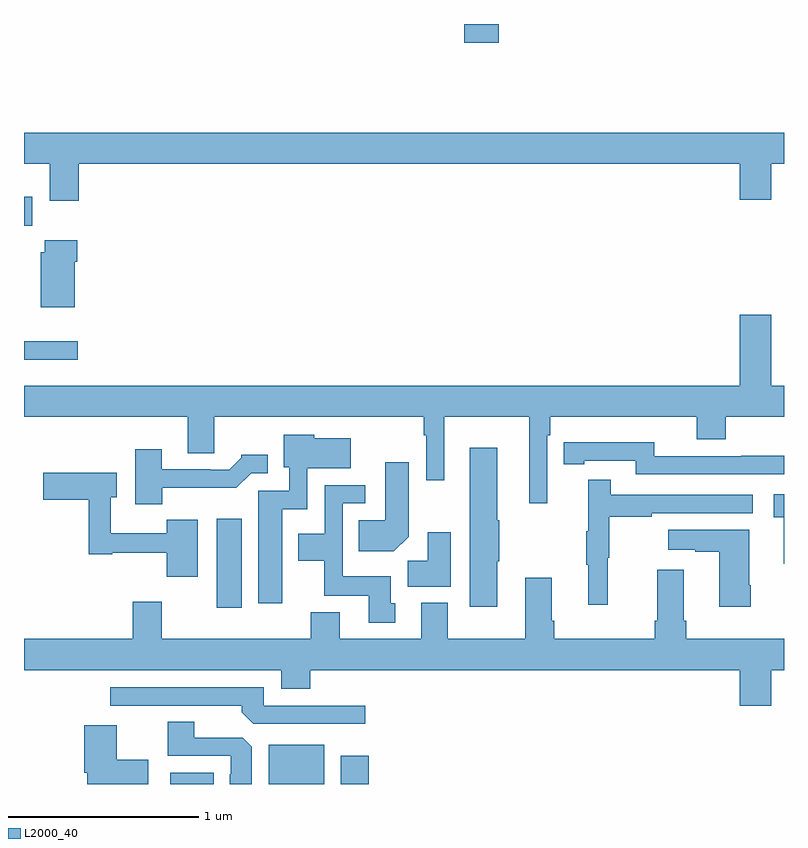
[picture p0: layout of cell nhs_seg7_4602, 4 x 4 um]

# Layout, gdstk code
import gdstk
lib = gdstk.Library(unit=1e-6, precision=1e-09)
def R(c, l, rs):  # rectangles x0, y0, x1, y1
    for r in rs: c.add(gdstk.rectangle(r[:2], r[2:], *l))
def P(c, l, *ps):  # polygons
    for p in ps: c.add(gdstk.Polygon(p, *l))
L2000_40 = (2000, 40)

nhs_seg7_4602 = lib.new_cell('nhs_seg7_4602')
R(nhs_seg7_4602, L2000_40, [(401.771,1016,401.998,1016.059), (402.287,1016,402.58,1016.206), (402.668,1016,402.815,1016.149), (402.014,1016.928,402.145,1017.397), (401,1018.232,401.284,1018.329), (401,1018.938,401.044,1019.092), (403.316,1019.901,403.499,1020)])
P(nhs_seg7_4602, L2000_40, [(401.288,1019.264),(404.768,1019.264),(404.768,1019.076),(404.932,1019.076),(404.932,1019.264),(405,1019.264),(405,1019.428),(401,1019.428),(401,1019.264),(401.135,1019.264),(401.135,1019.07),(401.288,1019.07)],
  [(401.266,1018.748),(401.279,1018.748),(401.279,1018.861),(401.108,1018.861),(401.108,1018.8),(401.087,1018.8),(401.087,1018.508),(401.266,1018.508)],
  [(403.755,1017.836),(403.769,1017.836),(403.769,1017.932),(404.54,1017.932),(404.54,1017.815),(404.693,1017.815),(404.693,1017.932),(405,1017.932),(405,1018.096),(404.932,1018.096),(404.932,1018.471),(404.768,1018.471),(404.768,1018.096),(401,1018.096),(401,1017.932),(401.861,1017.932),(401.861,1017.742),(402.001,1017.742),(402.001,1017.932),(403.104,1017.932),(403.104,1017.836),(403.116,1017.836),(403.116,1017.6),(403.213,1017.6),(403.213,1017.932),(403.658,1017.932),(403.658,1017.477),(403.755,1017.477)],
  [(402.358,1017.446),(402.492,1017.446),(402.492,1017.662),(402.721,1017.662),(402.721,1017.82),(402.528,1017.82),(402.528,1017.838),(402.368,1017.838),(402.368,1017.666),(402.396,1017.666),(402.396,1017.543),(402.233,1017.543),(402.233,1016.952),(402.358,1016.952)],
  [(405,1017.728),(404.776,1017.728),(404.776,1017.726),(404.316,1017.726),(404.316,1017.799),(403.948,1017.799),(403.948,1017.798),(403.84,1017.798),(403.84,1017.682),(403.948,1017.682),(403.948,1017.702),(404.22,1017.702),(404.22,1017.63),(405,1017.63)],
  [(403.492,1017.172),(403.5,1017.172),(403.5,1017.389),(403.492,1017.389),(403.492,1017.769),(403.346,1017.769),(403.346,1016.934),(403.492,1016.934)],
  [(401.728,1017.558),(402.117,1017.558),(402.195,1017.636),(402.283,1017.636),(402.283,1017.733),(402.144,1017.733),(402.144,1017.718),(402.08,1017.654),(401.981,1017.654),(401.981,1017.657),(401.725,1017.657),(401.725,1017.763),(401.585,1017.763),(401.585,1017.473),(401.728,1017.473)],
  [(403.024,1017.302),(403.024,1017.694),(402.902,1017.694),(402.902,1017.388),(402.763,1017.388),(402.763,1017.224),(402.946,1017.224)],
  [(401.914,1017.391),(401.752,1017.391),(401.752,1017.319),(401.457,1017.319),(401.457,1017.509),(401.488,1017.509),(401.488,1017.639),(401.1,1017.639),(401.1,1017.497),(401.341,1017.497),(401.341,1017.21),(401.464,1017.21),(401.464,1017.217),(401.75,1017.217),(401.75,1017.09),(401.914,1017.09)],
  [(404.072,1017.192),(404.08,1017.192),(404.08,1017.406),(404.303,1017.406),(404.303,1017.426),(404.836,1017.426),(404.836,1017.522),(404.087,1017.522),(404.087,1017.601),(403.97,1017.601),(403.97,1017.329),(403.959,1017.329),(403.959,1017.155),(403.97,1017.155),(403.97,1016.943),(404.072,1016.943)],
  [(402.955,1016.952),(402.931,1016.952),(402.931,1017.094),(402.678,1017.094),(402.678,1017.477),(402.796,1017.477),(402.796,1017.573),(402.582,1017.573),(402.582,1017.316),(402.443,1017.316),(402.443,1017.176),(402.58,1017.176),(402.58,1016.99),(402.815,1016.99),(402.815,1016.85),(402.955,1016.85)],
  [(405,1017.526),(404.946,1017.526),(404.946,1017.405),(404.999,1017.405),(404.999,1017.159),(405,1017.159)],
  [(404.826,1017.046),(404.818,1017.046),(404.818,1017.337),(404.391,1017.337),(404.391,1017.233),(404.534,1017.233),(404.534,1017.223),(404.66,1017.223),(404.66,1016.934),(404.826,1016.934)],
  [(403.246,1017.325),(403.124,1017.325),(403.124,1017.176),(403.019,1017.176),(403.019,1017.038),(403.246,1017.038)],
  [(403.637,1017.085),(403.637,1016.764),(403.231,1016.764),(403.231,1016.953),(403.091,1016.953),(403.091,1016.764),(402.661,1016.764),(402.661,1016.905),(402.509,1016.905),(402.509,1016.764),(401.725,1016.764),(401.725,1016.959),(401.573,1016.959),(401.573,1016.764),(401,1016.764),(401,1016.6),(402.353,1016.6),(402.353,1016.501),(402.506,1016.501),(402.506,1016.6),(404.768,1016.6),(404.768,1016.412),(404.932,1016.412),(404.932,1016.6),(405,1016.6),(405,1016.764),(404.486,1016.764),(404.486,1016.86),(404.473,1016.86),(404.473,1017.127),(404.333,1017.127),(404.333,1016.86),(404.321,1016.86),(404.321,1016.764),(403.79,1016.764),(403.79,1016.86),(403.777,1016.86),(403.777,1017.085)],
  [(402.796,1016.412),(402.261,1016.412),(402.261,1016.508),(401.454,1016.508),(401.454,1016.412),(402.146,1016.412),(402.146,1016.378),(402.207,1016.316),(402.796,1016.316)],
  [(402.199,1016.195),(402.15,1016.244),(401.896,1016.244),(401.896,1016.327),(401.756,1016.327),(401.756,1016.148),(402.087,1016.148),(402.087,1016.051),(402.083,1016.051),(402.083,1016),(402.199,1016)],
  [(401.653,1016.128),(401.488,1016.128),(401.488,1016.308),(401.318,1016.308),(401.318,1016.059),(401.333,1016.059),(401.333,1016),(401.653,1016)])

lib.write_gds('nhs_seg7_4602.gds')
